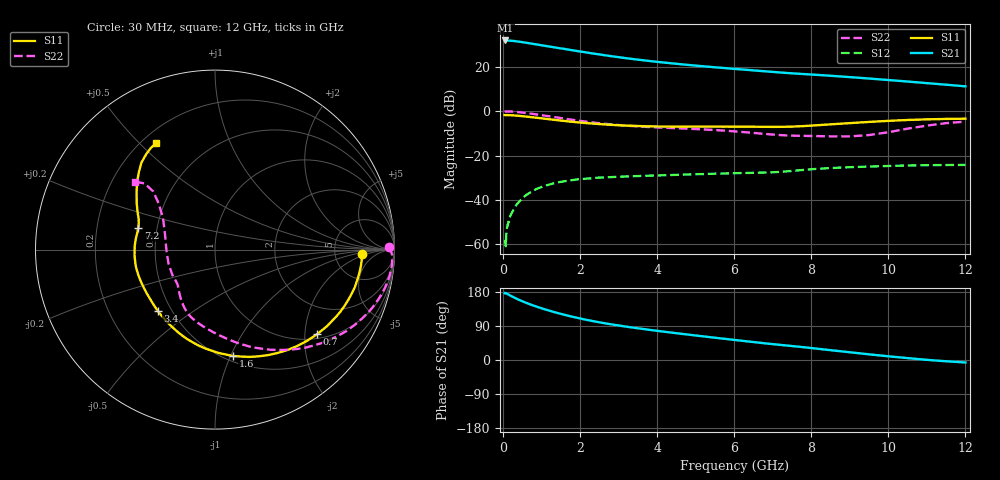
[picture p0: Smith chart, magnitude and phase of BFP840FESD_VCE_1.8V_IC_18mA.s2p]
! Infineon Technologies  Discrete & RF Semiconductors
! BFP840FESD
! VCE =  1.8 V,  IC =  18 mA
! Common Emitter S-Parameters:  May 2012
# GHz  S  MA  R  50
!  f  S11  S21  S12  S22
! GHz  MAG  ANG  MAG  ANG  MAG  ANG  MAG  ANG
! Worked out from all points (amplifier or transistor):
!   103 points, 30 MHz to 12 GHz, reference 50 ohm
!   highest |S21| = 31.9 dB at 50 MHz (marker M1)
!   |S21| within 3 dB of that: start of sweep to 1.284 GHz
!   unconditionally stable (mu >= 1): 5.963 GHz to end of sweep
!   at 400 MHz: K = 0.14, MSG = 36.2 dB, |S12| = -41.0 dB
!   at 3.7 GHz: K = 0.70, MSG = 26.0 dB, |S12| = -29.1 dB
!   at 12 GHz: K = 1.10, MAG = 15.8 dB, |S12| = -24.3 dB
!   S11 on the Smith chart (normalised r, x): 30 MHz: 9.88, -1.47; 700 MHz: 1.11, -2.31; 1.6 GHz: 0.55, -1.02; 3.4 GHz: 0.42, -0.37; 7.2 GHz: 0.39, +0.12; 12 GHz: 0.26, +0.56
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0.03  0.8198 -1.7  39.54 176.3  0.0011 83.1  0.969 0.7
0.04  0.8194 -2.3  39.53 175.8  0.0011 91.9  0.9759 0.1
0.05  0.818 -3.0  39.55 176.9  0.0012 56.6  0.9812 -0.6
0.2  0.8106 -12.1  38.93 168.9  0.0048 78.8  0.984 -8.4
0.35  0.7933 -20.9  37.64 161.3  0.008 77.8  0.9608 -15.0
0.5  0.7713 -29.1  36.06 154.6  0.0111 74.1  0.9303 -21.0
0.7  0.7391 -39.6  33.82 146.5  0.0147 68.3  0.8846 -28.3
0.9  0.7059 -49.6  31.75 139.4  0.0182 62.8  0.8368 -35.1
1.1  0.673 -58.9  29.7 133.0  0.0211 58.6  0.789 -41.4
1.3  0.6419 -67.9  27.86 126.9  0.0235 54.5  0.7424 -47.4
1.6  0.6006 -80.5  25.35 118.8  0.0264 49.3  0.6775 -55.6
1.8  0.5761 -88.1  23.69 113.9  0.028 46.1  0.6387 -60.9
2.1  0.545 -98.7  21.57 107.1  0.0298 42.4  0.5889 -68.0
2.7  0.4982 -116.5  17.96 95.8  0.0323 37.1  0.5136 -80.0
3.4  0.4667 -133.3  14.92 85.0  0.0342 34.1  0.4599 -91.4
4.1  0.4517 -147.3  12.73 75.6  0.0358 32.3  0.4271 -100.5
5  0.45 -162.2  10.68 64.6  0.0378 31.9  0.3952 -110.5
6.1  0.4482 -178.1  8.89 51.8  0.0401 31.7  0.3453 -122.3
7.2  0.4444 164.4  7.476 39.8  0.0429 35.2  0.2892 -135.6
8.5  0.5058 149.6  6.312 25.9  0.0522 33.7  0.2706 -163.0
10.5  0.6348 130.2  4.675 5.0  0.0596 26.7  0.4039 140.8
12  0.6775 119.0  3.643 -6.5  0.0613 24.3  0.5826 139.5
